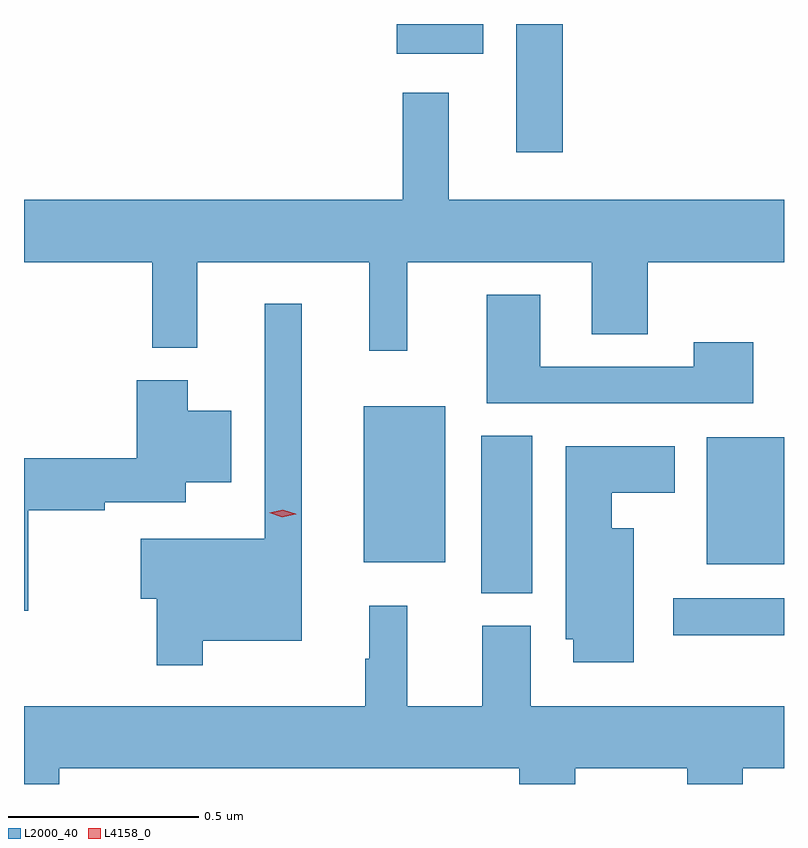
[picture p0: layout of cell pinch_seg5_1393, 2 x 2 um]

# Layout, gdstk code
import gdstk
lib = gdstk.Library(unit=1e-6, precision=1e-09)
def R(c, l, rs):  # rectangles x0, y0, x1, y1
    for r in rs: c.add(gdstk.rectangle(r[:2], r[2:], *l))
def P(c, l, *ps):  # polygons
    for p in ps: c.add(gdstk.Polygon(p, *l))
L2000_40 = (2000, 40)
L4158_0 = (4158, 0)

pinch_seg5_1393 = lib.new_cell('pinch_seg5_1393')
R(pinch_seg5_1393, L2000_40, [(302.619,879.755,302.911,879.852), (302.114,879.865,302.248,880.28), (302.708,879.941,302.911,880.276), (301.805,879.947,302.02,880.357), (302.207,881.025,302.329,881.363), (301.892,881.285,302.119,881.363)])
P(pinch_seg5_1393, L2000_40, [(301.919,880.736),(302.405,880.736),(302.405,880.546),(302.553,880.546),(302.553,880.736),(302.911,880.736),(302.911,880.9),(302.029,880.9),(302.029,881.182),(301.908,881.182),(301.908,880.9),(300.911,880.9),(300.911,880.736),(301.249,880.736),(301.249,880.511),(301.367,880.511),(301.367,880.736),(301.82,880.736),(301.82,880.503),(301.919,880.503)],
  [(302.83,880.525),(302.674,880.525),(302.674,880.461),(302.269,880.461),(302.269,880.651),(302.129,880.651),(302.129,880.365),(302.83,880.365)],
  [(301.381,879.74),(301.642,879.74),(301.642,880.627),(301.545,880.627),(301.545,880.009),(301.218,880.009),(301.218,879.851),(301.26,879.851),(301.26,879.675),(301.381,879.675)],
  [(300.922,880.084),(301.124,880.084),(301.124,880.104),(301.336,880.104),(301.336,880.157),(301.456,880.157),(301.456,880.345),(301.342,880.345),(301.342,880.426),(301.208,880.426),(301.208,880.22),(300.911,880.22),(300.911,879.819),(300.922,879.819)],
  [(302.515,880.036),(302.458,880.036),(302.458,880.13),(302.623,880.13),(302.623,880.252),(302.336,880.252),(302.336,879.744),(302.357,879.744),(302.357,879.684),(302.515,879.684)],
  [(301.004,879.404),(302.214,879.404),(302.214,879.363),(302.361,879.363),(302.361,879.404),(302.656,879.404),(302.656,879.363),(302.802,879.363),(302.802,879.404),(302.911,879.404),(302.911,879.568),(302.245,879.568),(302.245,879.78),(302.117,879.78),(302.117,879.568),(301.919,879.568),(301.919,879.832),(301.82,879.832),(301.82,879.692),(301.809,879.692),(301.809,879.568),(300.911,879.568),(300.911,879.363),(301.004,879.363)])
P(pinch_seg5_1393, L4158_0, [(301.591,880.065),(301.556,880.077),(301.555,880.077),(301.556,880.077),(301.592,880.085),(301.626,880.074),(301.627,880.073),(301.626,880.073)])

lib.write_gds('pinch_seg5_1393.gds')
